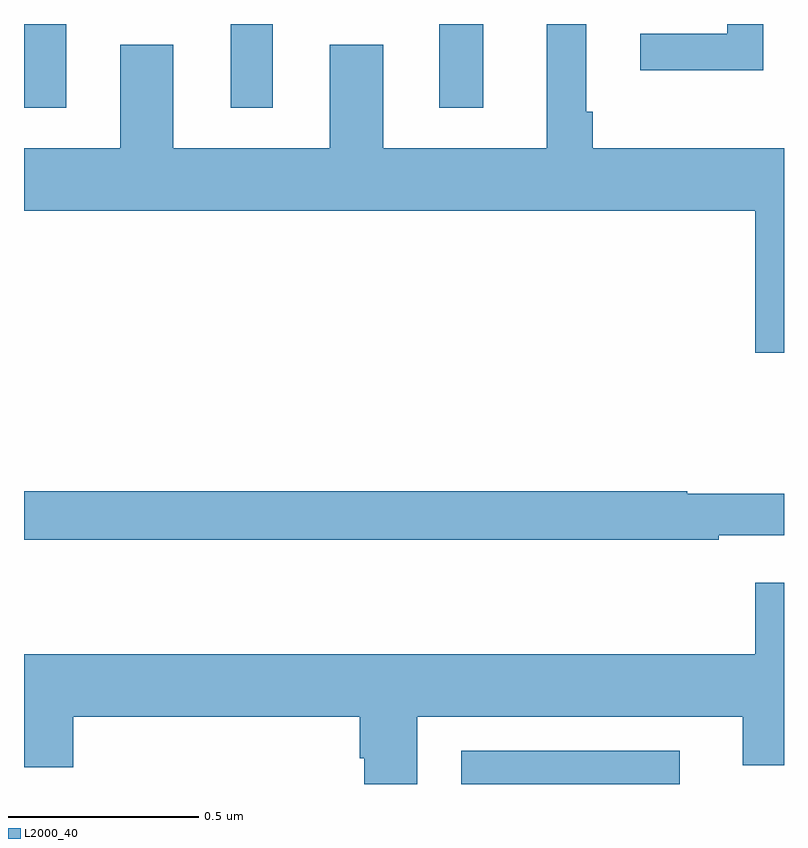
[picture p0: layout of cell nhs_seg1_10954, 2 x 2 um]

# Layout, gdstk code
import gdstk
lib = gdstk.Library(unit=1e-6, precision=1e-09)
def R(c, l, rs):  # rectangles x0, y0, x1, y1
    for r in rs: c.add(gdstk.rectangle(r[:2], r[2:], *l))
def P(c, l, *ps):  # polygons
    for p in ps: c.add(gdstk.Polygon(p, *l))
L2000_40 = (2000, 40)

nhs_seg1_10954 = lib.new_cell('nhs_seg1_10954')
R(nhs_seg1_10954, L2000_40, [(248.151,574.199,248.725,574.287), (247,575.979,247.111,576.199), (247.544,575.979,247.654,576.199), (248.093,575.979,248.209,576.199)])
P(nhs_seg1_10954, L2000_40, [(247.805,576.145),(247.805,575.872),(247.393,575.872),(247.393,576.145),(247.253,576.145),(247.253,575.872),(247,575.872),(247,575.708),(248.924,575.708),(248.924,575.334),(249,575.334),(249,575.872),(248.497,575.872),(248.497,575.968),(248.479,575.968),(248.479,576.199),(248.375,576.199),(248.375,575.872),(247.945,575.872),(247.945,576.145)],
  [(248.946,576.199),(248.85,576.199),(248.85,576.174),(248.622,576.174),(248.622,576.077),(248.946,576.077)],
  [(248.828,574.854),(249,574.854),(249,574.963),(248.745,574.963),(248.745,574.97),(247,574.97),(247,574.842),(248.828,574.842)],
  [(248.035,574.376),(248.891,574.376),(248.891,574.249),(249,574.249),(249,574.729),(248.924,574.729),(248.924,574.54),(247,574.54),(247,574.243),(247.13,574.243),(247.13,574.376),(247.883,574.376),(247.883,574.267),(247.896,574.267),(247.896,574.199),(248.035,574.199)])

lib.write_gds('nhs_seg1_10954.gds')
